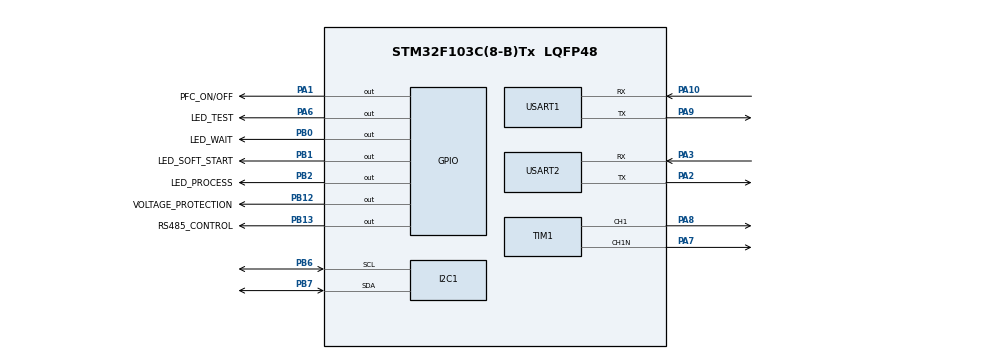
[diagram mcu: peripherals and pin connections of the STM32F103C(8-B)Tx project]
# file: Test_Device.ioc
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I2C1.I2C_Mode=I2C_Fast
Mcu.Family=STM32F1
Mcu.Name=STM32F103C(8-B)Tx
Mcu.Package=LQFP48
NVIC.PriorityGroup=NVIC_PRIORITYGROUP_4
NVIC.TIM3_IRQn=true\:1\:0\:true\:false\:true\:true\:true\:true
NVIC.USART1_IRQn=true\:2\:0\:true\:false\:true\:true\:true\:true
NVIC.USART2_IRQn=true\:2\:0\:true\:false\:true\:true\:true\:true
PA1.GPIO_Label=PFC_ON/OFF
PA1.Signal=GPIO_Output
PA10.Mode=Asynchronous
PA10.Signal=USART1_RX
PA13.Mode=Serial_Wire
PA13.Signal=SYS_JTMS-SWDIO
PA14.Mode=Serial_Wire
PA14.Signal=SYS_JTCK-SWCLK
PA2.Mode=Asynchronous
PA2.Signal=USART2_TX
PA3.Mode=Asynchronous
PA3.Signal=USART2_RX
PA6.GPIO_Label=LED_TEST
PA6.Signal=GPIO_Output
PA7.Mode=PWM Generation1 CH1 CH1N
PA7.Signal=TIM1_CH1N
PA8.Signal=S_TIM1_CH1
PA9.Mode=Asynchronous
PA9.Signal=USART1_TX
PB0.GPIO_Label=LED_WAIT
PB0.Signal=GPIO_Output
PB1.GPIO_Label=LED_SOFT_START
PB1.Signal=GPIO_Output
PB12.GPIO_Label=VOLTAGE_PROTECTION
PB12.Signal=GPIO_Output
PB13.GPIO_Label=RS485_CONTROL
PB13.Signal=GPIO_Output
PB2.GPIO_Label=LED_PROCESS
PB2.Signal=GPIO_Output
PB6.Mode=I2C
PB6.Signal=I2C1_SCL
PB7.Mode=I2C
PB7.Signal=I2C1_SDA
PD0-OSC_IN.Mode=HSE-External-Oscillator
PD0-OSC_IN.Signal=RCC_OSC_IN
PD1-OSC_OUT.Mode=HSE-External-Oscillator
PD1-OSC_OUT.Signal=RCC_OSC_OUT
ProjectManager.HeapSize=0x200
ProjectManager.StackSize=0x400
ProjectManager.TargetToolchain=STM32CubeIDE
RCC.ADCPresc=RCC_ADCPCLK2_DIV6
RCC.AHBFreq_Value=60000000
RCC.APB1CLKDivider=RCC_HCLK_DIV2
RCC.APB1Freq_Value=30000000
RCC.APB1TimFreq_Value=60000000
RCC.APB2Freq_Value=60000000
RCC.APB2TimFreq_Value=60000000
RCC.HCLKFreq_Value=60000000
RCC.HSEDivPLL=RCC_HSE_PREDIV_DIV2
RCC.PLLMUL=RCC_PLL_MUL15
RCC.PLLSourceVirtual=RCC_PLLSOURCE_HSE
RCC.SYSCLKFreq_VALUE=60000000
RCC.SYSCLKSource=RCC_SYSCLKSOURCE_PLLCLK
RCC.USBFreq_Value=60000000
SH.S_TIM1_CH1.0=TIM1_CH1,PWM Generation1 CH1 CH1N
TIM1.Channel-PWM\ Generation1\ CH1\ CH1N=TIM_CHANNEL_1
TIM1.DeadTime=84
TIM3.AutoReloadPreload=TIM_AUTORELOAD_PRELOAD_ENABLE
TIM3.Period=499
TIM3.Prescaler=59
USART1.VirtualMode=VM_ASYNC
USART2.VirtualMode=VM_ASYNC
VP_TIM1_VS_ClockSourceINT.Mode=Internal
VP_TIM3_VS_ClockSourceINT.Mode=Internal
board=custom

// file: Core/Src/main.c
/* USER CODE BEGIN Header */
/**
 ******************************************************************************
 * @file           : main.c
 * @brief          : Main program body
 ******************************************************************************
 * @attention
 *
 * Copyright (c) 2024 STMicroelectronics.
 * All rights reserved.
 *
 * This software is licensed under terms that can be found in the LICENSE file
 * in the root directory of this software component.
 * If no LICENSE file comes with this software, it is provided AS-IS.
 *
 ******************************************************************************
 */
/* USER CODE END Header */
#include "main.h"

/* USER CODE BEGIN Includes */
#include "scheduler.h"
#include "bsp_board.h"
#include "app_control_power.h"
#include "app_command.h"
#include "app_check_input_voltage.h"
#include "app_status_led.h"
/* USER CODE END Includes */

void SystemClock_Config(void);
static void MX_GPIO_Init(void);
static void MX_USART1_UART_Init(void);
static void MX_TIM1_Init(void);
static void MX_I2C1_Init(void);
static void MX_USART2_UART_Init(void);
static void MX_TIM3_Init(void);

int main(void)
{

  /* MCU Configuration--------------------------------------------------------*/

  /* Reset of all peripherals, Initializes the Flash interface and the Systick. */
  LL_APB2_GRP1_EnableClock(LL_APB2_GRP1_PERIPH_AFIO);
  LL_APB1_GRP1_EnableClock(LL_APB1_GRP1_PERIPH_PWR);

  /* System interrupt init*/
  NVIC_SetPriorityGrouping(NVIC_PRIORITYGROUP_4);

  /* SysTick_IRQn interrupt configuration */
  NVIC_SetPriority(SysTick_IRQn, NVIC_EncodePriority(NVIC_GetPriorityGrouping(),15, 0));

  /** NOJTAG: JTAG-DP Disabled and SW-DP Enabled
  */
  LL_GPIO_AF_Remap_SWJ_NOJTAG();

  /* Configure the system clock */
  SystemClock_Config();

  /* Initialize all configured peripherals */
  MX_GPIO_Init();
  MX_USART1_UART_Init();
  MX_TIM1_Init();
  MX_I2C1_Init();
  MX_USART2_UART_Init();
  MX_TIM3_Init();
  /* USER CODE BEGIN 2 */

  // Initialize Application
  APP_COMMAND_Init();
  APP_CONTROL_Init();
  APP_STATUS_LED_Init();

  // Initialize Scheduler
  SCH_Initialize();

  // Create Timer
  APP_STATUS_LED_CreateTimer();

  // Create Task
  APP_COMMAND_CreateTask();
  APP_CONTROL_CreateTask();
  APP_CHECK_INPUT_VOLTAGE_CreateTask();
  APP_STATUS_LED_CreateTask();

  SCH_StartScheduler();
  /* USER CODE END 2 */

  /* Infinite loop */
  while (1)
  {

    /* USER CODE BEGIN 3 */
    SCH_HandleScheduledTask();
  }
  /* USER CODE END 3 */
}

void SystemClock_Config(void)
{
  LL_FLASH_SetLatency(LL_FLASH_LATENCY_2);
  while(LL_FLASH_GetLatency()!= LL_FLASH_LATENCY_2)
  {
  }
  LL_RCC_HSE_Enable();

   /* Wait till HSE is ready */
  while(LL_RCC_HSE_IsReady() != 1)
  {

  }
  LL_RCC_PLL_ConfigDomain_SYS(LL_RCC_PLLSOURCE_HSE_DIV_2, LL_RCC_PLL_MUL_15);
  LL_RCC_PLL_Enable();

   /* Wait till PLL is ready */
  while(LL_RCC_PLL_IsReady() != 1)
  {

  }
  LL_RCC_SetAHBPrescaler(LL_RCC_SYSCLK_DIV_1);
  LL_RCC_SetAPB1Prescaler(LL_RCC_APB1_DIV_2);
  LL_RCC_SetAPB2Prescaler(LL_RCC_APB2_DIV_1);
  LL_RCC_SetSysClkSource(LL_RCC_SYS_CLKSOURCE_PLL);

   /* Wait till System clock is ready */
  while(LL_RCC_GetSysClkSource() != LL_RCC_SYS_CLKSOURCE_STATUS_PLL)
  {

  }
  LL_Init1msTick(60000000);
  LL_SetSystemCoreClock(60000000);
}

static void MX_I2C1_Init(void)
{

  LL_I2C_InitTypeDef I2C_InitStruct = {0};

  LL_GPIO_InitTypeDef GPIO_InitStruct = {0};

  LL_APB2_GRP1_EnableClock(LL_APB2_GRP1_PERIPH_GPIOB);
  /**I2C1 GPIO Configuration
  PB6   ------> I2C1_SCL
  PB7   ------> I2C1_SDA
  */
  GPIO_InitStruct.Pin = LL_GPIO_PIN_6|LL_GPIO_PIN_7;
  GPIO_InitStruct.Mode = LL_GPIO_MODE_ALTERNATE;
  GPIO_InitStruct.Speed = LL_GPIO_SPEED_FREQ_HIGH;
  GPIO_InitStruct.OutputType = LL_GPIO_OUTPUT_OPENDRAIN;
  LL_GPIO_Init(GPIOB, &GPIO_InitStruct);

  /* Peripheral clock enable */
  LL_APB1_GRP1_EnableClock(LL_APB1_GRP1_PERIPH_I2C1);

  /** I2C Initialization
  */
  LL_I2C_DisableOwnAddress2(I2C1);
  LL_I2C_DisableGeneralCall(I2C1);
  LL_I2C_EnableClockStretching(I2C1);
  I2C_InitStruct.PeripheralMode = LL_I2C_MODE_I2C;
  I2C_InitStruct.ClockSpeed = 400000;
  I2C_InitStruct.DutyCycle = LL_I2C_DUTYCYCLE_2;
  I2C_InitStruct.OwnAddress1 = 0;
  I2C_InitStruct.TypeAcknowledge = LL_I2C_ACK;
  I2C_InitStruct.OwnAddrSize = LL_I2C_OWNADDRESS1_7BIT;
  LL_I2C_Init(I2C1, &I2C_InitStruct);
  LL_I2C_SetOwnAddress2(I2C1, 0);

}

static void MX_TIM1_Init(void)
{

  LL_TIM_InitTypeDef TIM_InitStruct = {0};
  LL_TIM_OC_InitTypeDef TIM_OC_InitStruct = {0};
  LL_TIM_BDTR_InitTypeDef TIM_BDTRInitStruct = {0};

  LL_GPIO_InitTypeDef GPIO_InitStruct = {0};

  /* Peripheral clock enable */
  LL_APB2_GRP1_EnableClock(LL_APB2_GRP1_PERIPH_TIM1);

  TIM_InitStruct.Prescaler = 0;
  TIM_InitStruct.CounterMode = LL_TIM_COUNTERMODE_UP;
  TIM_InitStruct.Autoreload = 65535;
  TIM_InitStruct.ClockDivision = LL_TIM_CLOCKDIVISION_DIV1;
  TIM_InitStruct.RepetitionCounter = 0;
  LL_TIM_Init(TIM1, &TIM_InitStruct);
  LL_TIM_DisableARRPreload(TIM1);
  LL_TIM_SetClockSource(TIM1, LL_TIM_CLOCKSOURCE_INTERNAL);
  LL_TIM_OC_EnablePreload(TIM1, LL_TIM_CHANNEL_CH1);
  TIM_OC_InitStruct.OCMode = LL_TIM_OCMODE_PWM1;
  TIM_OC_InitStruct.OCState = LL_TIM_OCSTATE_DISABLE;
  TIM_OC_InitStruct.OCNState = LL_TIM_OCSTATE_DISABLE;
  TIM_OC_InitStruct.CompareValue = 0;
  TIM_OC_InitStruct.OCPolarity = LL_TIM_OCPOLARITY_HIGH;
  TIM_OC_InitStruct.OCNPolarity = LL_TIM_OCPOLARITY_HIGH;
  TIM_OC_InitStruct.OCIdleState = LL_TIM_OCIDLESTATE_LOW;
  TIM_OC_InitStruct.OCNIdleState = LL_TIM_OCIDLESTATE_LOW;
  LL_TIM_OC_Init(TIM1, LL_TIM_CHANNEL_CH1, &TIM_OC_InitStruct);
  LL_TIM_OC_DisableFast(TIM1, LL_TIM_CHANNEL_CH1);
  LL_TIM_SetTriggerOutput(TIM1, LL_TIM_TRGO_RESET);
  LL_TIM_DisableMasterSlaveMode(TIM1);
  TIM_BDTRInitStruct.OSSRState = LL_TIM_OSSR_DISABLE;
  TIM_BDTRInitStruct.OSSIState = LL_TIM_OSSI_DISABLE;
  TIM_BDTRInitStruct.LockLevel = LL_TIM_LOCKLEVEL_OFF;
  TIM_BDTRInitStruct.DeadTime = 84;
  TIM_BDTRInitStruct.BreakState = LL_TIM_BREAK_DISABLE;
  TIM_BDTRInitStruct.BreakPolarity = LL_TIM_BREAK_POLARITY_HIGH;
  TIM_BDTRInitStruct.AutomaticOutput = LL_TIM_AUTOMATICOUTPUT_DISABLE;
  LL_TIM_BDTR_Init(TIM1, &TIM_BDTRInitStruct);
  LL_APB2_GRP1_EnableClock(LL_APB2_GRP1_PERIPH_GPIOA);
  /**TIM1 GPIO Configuration
  PA7   ------> TIM1_CH1N
  PA8   ------> TIM1_CH1
  */
  GPIO_InitStruct.Pin = LL_GPIO_PIN_7|LL_GPIO_PIN_8;
  GPIO_InitStruct.Mode = LL_GPIO_MODE_ALTERNATE;
  GPIO_InitStruct.Speed = LL_GPIO_SPEED_FREQ_LOW;
  GPIO_InitStruct.OutputType = LL_GPIO_OUTPUT_PUSHPULL;
  LL_GPIO_Init(GPIOA, &GPIO_InitStruct);

  LL_GPIO_AF_RemapPartial_TIM1();

}

static void MX_TIM3_Init(void)
{

  LL_TIM_InitTypeDef TIM_InitStruct = {0};

  /* Peripheral clock enable */
  LL_APB1_GRP1_EnableClock(LL_APB1_GRP1_PERIPH_TIM3);

  /* TIM3 interrupt Init */
  NVIC_SetPriority(TIM3_IRQn, NVIC_EncodePriority(NVIC_GetPriorityGrouping(),1, 0));
  NVIC_EnableIRQ(TIM3_IRQn);

  TIM_InitStruct.Prescaler = 59;
  TIM_InitStruct.CounterMode = LL_TIM_COUNTERMODE_UP;
  TIM_InitStruct.Autoreload = 499;
  TIM_InitStruct.ClockDivision = LL_TIM_CLOCKDIVISION_DIV1;
  LL_TIM_Init(TIM3, &TIM_InitStruct);
  LL_TIM_EnableARRPreload(TIM3);
  LL_TIM_SetClockSource(TIM3, LL_TIM_CLOCKSOURCE_INTERNAL);
  LL_TIM_SetTriggerOutput(TIM3, LL_TIM_TRGO_RESET);
  LL_TIM_DisableMasterSlaveMode(TIM3);

}

static void MX_USART1_UART_Init(void)
{

  LL_USART_InitTypeDef USART_InitStruct = {0};

  LL_GPIO_InitTypeDef GPIO_InitStruct = {0};

  /* Peripheral clock enable */
  LL_APB2_GRP1_EnableClock(LL_APB2_GRP1_PERIPH_USART1);

  LL_APB2_GRP1_EnableClock(LL_APB2_GRP1_PERIPH_GPIOA);
  /**USART1 GPIO Configuration
  PA9   ------> USART1_TX
  PA10   ------> USART1_RX
  */
  GPIO_InitStruct.Pin = LL_GPIO_PIN_9;
  GPIO_InitStruct.Mode = LL_GPIO_MODE_ALTERNATE;
  GPIO_InitStruct.Speed = LL_GPIO_SPEED_FREQ_HIGH;
  GPIO_InitStruct.OutputType = LL_GPIO_OUTPUT_PUSHPULL;
  LL_GPIO_Init(GPIOA, &GPIO_InitStruct);

  GPIO_InitStruct.Pin = LL_GPIO_PIN_10;
  GPIO_InitStruct.Mode = LL_GPIO_MODE_FLOATING;
  LL_GPIO_Init(GPIOA, &GPIO_InitStruct);

  /* USART1 interrupt Init */
  NVIC_SetPriority(USART1_IRQn, NVIC_EncodePriority(NVIC_GetPriorityGrouping(),2, 0));
  NVIC_EnableIRQ(USART1_IRQn);

  USART_InitStruct.BaudRate = 115200;
  USART_InitStruct.DataWidth = LL_USART_DATAWIDTH_8B;
  USART_InitStruct.StopBits = LL_USART_STOPBITS_1;
  USART_InitStruct.Parity = LL_USART_PARITY_NONE;
  USART_InitStruct.TransferDirection = LL_USART_DIRECTION_TX_RX;
  USART_InitStruct.HardwareFlowControl = LL_USART_HWCONTROL_NONE;
  USART_InitStruct.OverSampling = LL_USART_OVERSAMPLING_16;
  LL_USART_Init(USART1, &USART_InitStruct);
  LL_USART_ConfigAsyncMode(USART1);
  LL_USART_Enable(USART1);

}

static void MX_USART2_UART_Init(void)
{

  LL_USART_InitTypeDef USART_InitStruct = {0};

  LL_GPIO_InitTypeDef GPIO_InitStruct = {0};

  /* Peripheral clock enable */
  LL_APB1_GRP1_EnableClock(LL_APB1_GRP1_PERIPH_USART2);

  LL_APB2_GRP1_EnableClock(LL_APB2_GRP1_PERIPH_GPIOA);
  /**USART2 GPIO Configuration
  PA2   ------> USART2_TX
  PA3   ------> USART2_RX
  */
  GPIO_InitStruct.Pin = LL_GPIO_PIN_2;
  GPIO_InitStruct.Mode = LL_GPIO_MODE_ALTERNATE;
  GPIO_InitStruct.Speed = LL_GPIO_SPEED_FREQ_HIGH;
  GPIO_InitStruct.OutputType = LL_GPIO_OUTPUT_PUSHPULL;
  LL_GPIO_Init(GPIOA, &GPIO_InitStruct);

  GPIO_InitStruct.Pin = LL_GPIO_PIN_3;
  GPIO_InitStruct.Mode = LL_GPIO_MODE_FLOATING;
  LL_GPIO_Init(GPIOA, &GPIO_InitStruct);

  /* USART2 interrupt Init */
  NVIC_SetPriority(USART2_IRQn, NVIC_EncodePriority(NVIC_GetPriorityGrouping(),2, 0));
  NVIC_EnableIRQ(USART2_IRQn);

  USART_InitStruct.BaudRate = 115200;
  USART_InitStruct.DataWidth = LL_USART_DATAWIDTH_8B;
  USART_InitStruct.StopBits = LL_USART_STOPBITS_1;
  USART_InitStruct.Parity = LL_USART_PARITY_NONE;
  USART_InitStruct.TransferDirection = LL_USART_DIRECTION_TX_RX;
  USART_InitStruct.HardwareFlowControl = LL_USART_HWCONTROL_NONE;
  USART_InitStruct.OverSampling = LL_USART_OVERSAMPLING_16;
  LL_USART_Init(USART2, &USART_InitStruct);
  LL_USART_ConfigAsyncMode(USART2);
  LL_USART_Enable(USART2);

}

static void MX_GPIO_Init(void)
{
  LL_GPIO_InitTypeDef GPIO_InitStruct = {0};

  /* GPIO Ports Clock Enable */
  LL_APB2_GRP1_EnableClock(LL_APB2_GRP1_PERIPH_GPIOD);
  LL_APB2_GRP1_EnableClock(LL_APB2_GRP1_PERIPH_GPIOA);
  LL_APB2_GRP1_EnableClock(LL_APB2_GRP1_PERIPH_GPIOB);

  /**/
  LL_GPIO_ResetOutputPin(GPIOA, PFC_ON_OFF_Pin|LED_TEST_Pin);

  /**/
  LL_GPIO_ResetOutputPin(GPIOB, LED_WAIT_Pin|LED_SOFT_START_Pin|LED_PROCESS_Pin|VOLTAGE_PROTECTION_Pin
                          |RS485_CONTROL_Pin);

  /**/
  GPIO_InitStruct.Pin = PFC_ON_OFF_Pin|LED_TEST_Pin;
  GPIO_InitStruct.Mode = LL_GPIO_MODE_OUTPUT;
  GPIO_InitStruct.Speed = LL_GPIO_SPEED_FREQ_LOW;
  GPIO_InitStruct.OutputType = LL_GPIO_OUTPUT_PUSHPULL;
  LL_GPIO_Init(GPIOA, &GPIO_InitStruct);

  /**/
  GPIO_InitStruct.Pin = LED_WAIT_Pin|LED_SOFT_START_Pin|LED_PROCESS_Pin|VOLTAGE_PROTECTION_Pin
                          |RS485_CONTROL_Pin;
  GPIO_InitStruct.Mode = LL_GPIO_MODE_OUTPUT;
  GPIO_InitStruct.Speed = LL_GPIO_SPEED_FREQ_LOW;
  GPIO_InitStruct.OutputType = LL_GPIO_OUTPUT_PUSHPULL;
  LL_GPIO_Init(GPIOB, &GPIO_InitStruct);

}

void Error_Handler(void)
{
  __disable_irq();
  while (1)
  {
  }
}

#ifdef  USE_FULL_ASSERT
/**
  * @brief  Reports the name of the source file and the source line number
  *         where the assert_param error has occurred.
  * @param  file: pointer to the source file name
  * @param  line: assert_param error line source number
  * @retval None
  */
void assert_failed(uint8_t *file, uint32_t line)
{
  /* USER CODE BEGIN 6 */
  /* User can add his own implementation to report the file name and line
     number, ex: printf("Wrong parameters value: file %s on line %d\r\n", file,
     line) */
  /* USER CODE END 6 */
}
#endif /* USE_FULL_ASSERT */
